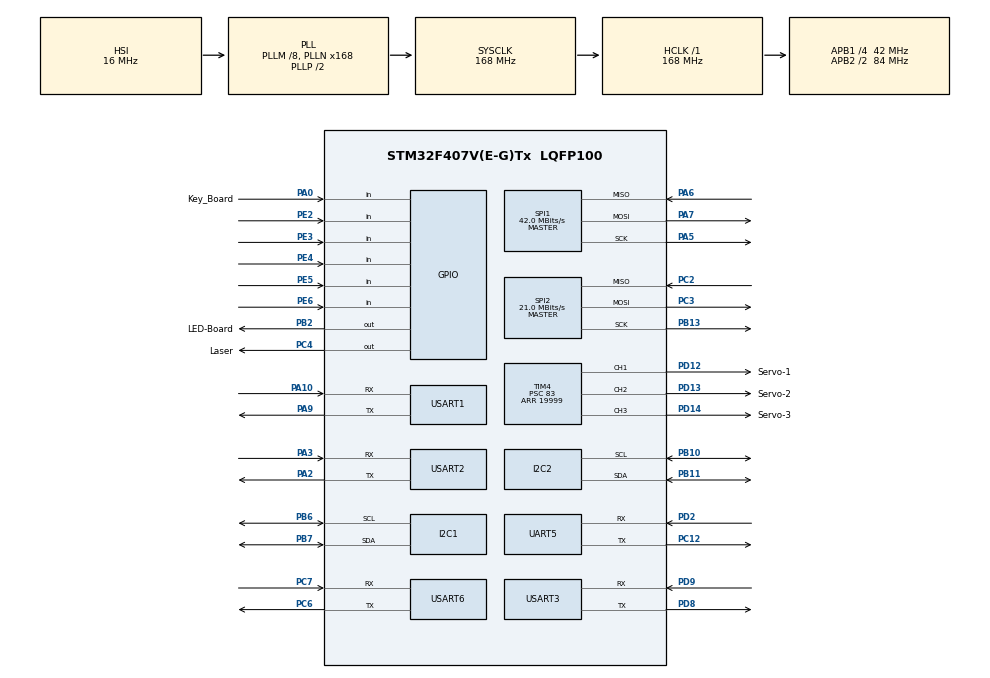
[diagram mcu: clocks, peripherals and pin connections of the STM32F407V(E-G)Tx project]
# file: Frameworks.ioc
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Dma.Request0=USART2_RX
Dma.Request1=USART3_RX
Dma.USART2_RX.0.Direction=DMA_PERIPH_TO_MEMORY
Dma.USART2_RX.0.FIFOMode=DMA_FIFOMODE_DISABLE
Dma.USART2_RX.0.Instance=DMA1_Stream5
Dma.USART2_RX.0.MemDataAlignment=DMA_MDATAALIGN_BYTE
Dma.USART2_RX.0.MemInc=DMA_MINC_ENABLE
Dma.USART2_RX.0.Mode=DMA_NORMAL
Dma.USART2_RX.0.PeriphDataAlignment=DMA_PDATAALIGN_BYTE
Dma.USART2_RX.0.PeriphInc=DMA_PINC_DISABLE
Dma.USART2_RX.0.Priority=DMA_PRIORITY_HIGH
Dma.USART3_RX.1.Direction=DMA_PERIPH_TO_MEMORY
Dma.USART3_RX.1.FIFOMode=DMA_FIFOMODE_DISABLE
Dma.USART3_RX.1.Instance=DMA1_Stream1
Dma.USART3_RX.1.MemDataAlignment=DMA_MDATAALIGN_BYTE
Dma.USART3_RX.1.MemInc=DMA_MINC_ENABLE
Dma.USART3_RX.1.Mode=DMA_NORMAL
Dma.USART3_RX.1.PeriphDataAlignment=DMA_PDATAALIGN_BYTE
Dma.USART3_RX.1.PeriphInc=DMA_PINC_DISABLE
Dma.USART3_RX.1.Priority=DMA_PRIORITY_HIGH
I2C1.I2C_Mode=I2C_Fast
Mcu.Family=STM32F4
Mcu.Name=STM32F407V(E-G)Tx
Mcu.Package=LQFP100
NVIC.DMA1_Stream1_IRQn=true\:0\:0\:false\:false\:true\:false\:true\:true
NVIC.DMA1_Stream5_IRQn=true\:0\:0\:false\:false\:true\:false\:true\:true
NVIC.PriorityGroup=NVIC_PRIORITYGROUP_4
NVIC.TIM6_DAC_IRQn=true\:0\:0\:false\:false\:true\:true\:true\:true
NVIC.TIM7_IRQn=true\:0\:0\:false\:false\:true\:true\:true\:true
NVIC.USART2_IRQn=true\:0\:0\:false\:false\:true\:true\:true\:true
NVIC.USART3_IRQn=true\:0\:0\:false\:false\:true\:true\:true\:true
PA0-WKUP.GPIO_Label=Key_Board
PA0-WKUP.GPIO_PuPd=GPIO_NOPULL
PA0-WKUP.Signal=GPIO_Input
PA10.Mode=Asynchronous
PA10.Signal=USART1_RX
PA13.Mode=Serial_Wire
PA13.Signal=SYS_JTMS-SWDIO
PA14.Mode=Serial_Wire
PA14.Signal=SYS_JTCK-SWCLK
PA2.Mode=Asynchronous
PA2.Signal=USART2_TX
PA3.Mode=Asynchronous
PA3.Signal=USART2_RX
PA5.Mode=Full_Duplex_Master
PA5.Signal=SPI1_SCK
PA6.Mode=Full_Duplex_Master
PA6.Signal=SPI1_MISO
PA7.Mode=Full_Duplex_Master
PA7.Signal=SPI1_MOSI
PA9.Mode=Asynchronous
PA9.Signal=USART1_TX
PB10.Mode=I2C
PB10.Signal=I2C2_SCL
PB11.Mode=I2C
PB11.Signal=I2C2_SDA
PB13.Mode=Full_Duplex_Master
PB13.Signal=SPI2_SCK
PB2.GPIO_Label=LED-Board
PB2.Signal=GPIO_Output
PB6.Mode=I2C
PB6.Signal=I2C1_SCL
PB7.Mode=I2C
PB7.Signal=I2C1_SDA
PC12.Mode=Asynchronous
PC12.Signal=UART5_TX
PC2.Mode=Full_Duplex_Master
PC2.Signal=SPI2_MISO
PC3.Mode=Full_Duplex_Master
PC3.Signal=SPI2_MOSI
PC4.GPIO_Label=Laser
PC4.Signal=GPIO_Output
PC6.Mode=Asynchronous
PC6.Signal=USART6_TX
PC7.Mode=Asynchronous
PC7.Signal=USART6_RX
PD12.GPIO_Label=Servo-1
PD12.Signal=S_TIM4_CH1
PD13.GPIO_Label=Servo-2
PD13.Signal=S_TIM4_CH2
PD14.GPIO_Label=Servo-3
PD14.Signal=S_TIM4_CH3
PD2.Mode=Asynchronous
PD2.Signal=UART5_RX
PD8.Mode=Asynchronous
PD8.Signal=USART3_TX
PD9.Mode=Asynchronous
PD9.Signal=USART3_RX
PE2.GPIO_PuPd=GPIO_NOPULL
PE2.Signal=GPIO_Input
PE3.GPIO_PuPd=GPIO_NOPULL
PE3.Signal=GPIO_Input
PE4.GPIO_PuPd=GPIO_NOPULL
PE4.Signal=GPIO_Input
PE5.GPIO_PuPd=GPIO_NOPULL
PE5.Signal=GPIO_Input
PE6.GPIO_PuPd=GPIO_NOPULL
PE6.Signal=GPIO_Input
PH0-OSC_IN.Mode=HSE-External-Oscillator
PH0-OSC_IN.Signal=RCC_OSC_IN
PH1-OSC_OUT.Mode=HSE-External-Oscillator
PH1-OSC_OUT.Signal=RCC_OSC_OUT
ProjectManager.HeapSize=0x200
ProjectManager.StackSize=0x400
ProjectManager.TargetToolchain=CMake
RCC.48MHZClocksFreq_Value=84000000
RCC.AHBFreq_Value=168000000
RCC.APB1CLKDivider=RCC_HCLK_DIV4
RCC.APB1Freq_Value=42000000
RCC.APB1TimFreq_Value=84000000
RCC.APB2CLKDivider=RCC_HCLK_DIV2
RCC.APB2Freq_Value=84000000
RCC.APB2TimFreq_Value=168000000
RCC.CortexFreq_Value=168000000
RCC.HCLKFreq_Value=168000000
RCC.HSE_VALUE=25000000
RCC.HSI_VALUE=16000000
RCC.LSE_VALUE=32768
RCC.PLLM=8
RCC.PLLN=168
RCC.SYSCLKFreq_VALUE=168000000
RCC.SYSCLKSource=RCC_SYSCLKSOURCE_PLLCLK
RCC.VCOOutputFreq_Value=336000000
SH.S_TIM4_CH1.0=TIM4_CH1,PWM Generation1 CH1
SH.S_TIM4_CH2.0=TIM4_CH2,PWM Generation2 CH2
SH.S_TIM4_CH3.0=TIM4_CH3,PWM Generation3 CH3
SPI1.CalculateBaudRate=42.0 MBits/s
SPI1.Direction=SPI_DIRECTION_2LINES
SPI1.Mode=SPI_MODE_MASTER
SPI1.VirtualType=VM_MASTER
SPI2.CalculateBaudRate=21.0 MBits/s
SPI2.Direction=SPI_DIRECTION_2LINES
SPI2.Mode=SPI_MODE_MASTER
SPI2.VirtualType=VM_MASTER
STMicroelectronics.X-CUBE-ALGOBUILD.1.4.0.LibraryCcDSPOoLibraryJjDSPOoLibrary=true
TIM4.AutoReloadPreload=TIM_AUTORELOAD_PRELOAD_ENABLE
TIM4.Channel-PWM\ Generation1\ CH1=TIM_CHANNEL_1
TIM4.Channel-PWM\ Generation2\ CH2=TIM_CHANNEL_2
TIM4.Channel-PWM\ Generation3\ CH3=TIM_CHANNEL_3
TIM4.Period=19999
TIM4.Prescaler=83
TIM6.AutoReloadPreload=TIM_AUTORELOAD_PRELOAD_ENABLE
TIM6.Period=199
TIM6.Prescaler=16799
TIM7.AutoReloadPreload=TIM_AUTORELOAD_PRELOAD_ENABLE
TIM7.Period=199
TIM7.Prescaler=16799
UART5.VirtualMode=Asynchronous
USART1.VirtualMode=VM_ASYNC
USART2.VirtualMode=VM_ASYNC
USART3.VirtualMode=VM_ASYNC
USART6.VirtualMode=VM_ASYNC
VP_STMicroelectronics.X-CUBE-ALGOBUILD_VS_DSPOoLibraryJjLibrary_1.4.0_1.4.0.Mode=DSPOoLibraryJjLibrary
VP_TIM6_VS_ClockSourceINT.Mode=Enable_Timer
VP_TIM7_VS_ClockSourceINT.Mode=Enable_Timer
board=custom

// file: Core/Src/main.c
/* USER CODE BEGIN Header */
/**
  ******************************************************************************
  * @file           : main.c
  * @brief          : Main program body
  ******************************************************************************
  * @attention
  *
  * Copyright (c) 2025 STMicroelectronics.
  * All rights reserved.
  *
  * This software is licensed under terms that can be found in the LICENSE file
  * in the root directory of this software component.
  * If no LICENSE file comes with this software, it is provided AS-IS.
  *
  ******************************************************************************
  */
/* USER CODE END Header */
#include "main.h"
#include "dma.h"
#include "i2c.h"
#include "spi.h"
#include "tim.h"
#include "usart.h"
#include "gpio.h"

/* USER CODE BEGIN Includes */
#include <stdio.h>

#include "SEGGER_RTT.h"
#include "hal_oled.h"
#include "key.h"
#include "Emm_V5.h"
#include "gimbal.h"
#include "isr.h"
#include "stepper_uart.h"
#include "vision_uart.h"

/* USER CODE END Includes */

void SystemClock_Config(void);

int main(void)
{

  /* MCU Configuration--------------------------------------------------------*/

  /* Reset of all peripherals, Initializes the Flash interface and the Systick. */
  HAL_Init();

  /* Configure the system clock */
  SystemClock_Config();

  /* Initialize all configured peripherals */
  MX_GPIO_Init();
  MX_DMA_Init();
  MX_I2C1_Init();
  MX_I2C2_Init();
  MX_SPI1_Init();
  MX_SPI2_Init();
  MX_TIM4_Init();
  MX_UART5_Init();
  MX_USART1_UART_Init();
  MX_USART2_UART_Init();
  MX_USART3_UART_Init();
  MX_USART6_UART_Init();
  MX_TIM6_Init();
  MX_TIM7_Init();
  /* USER CODE BEGIN 2 */
  HAL_Delay(100);
  SEGGER_RTT_Init();
  Vision_UART_Init();
  Stepper_UART_Init();

  // Initialize OLED
  if (HAL_OLED_Init() != HAL_OK) {
    printf("OLED initialization failed!\n");
    // 处理错误情况
  } else {
    printf("OLED ready for use\n");
    // 可以安全使用OLED功能
  }

  HAL_Timer_Init();

  Gimbal_PID_Init();

  printf("Board Peripherals Initialized\n");
  printf("System Ready. Entering main loop...\n");

  HAL_OLED_Clear();
  HAL_OLED_SetFont(u8g2_font_ncenB08_tr);
  HAL_OLED_DrawString(0,0,"Init Finished");
  HAL_OLED_SendBuffer();
  HAL_Delay(100);
  // HAL_OLED_Test();
  // Emm_V5_Test();
  // HAL_GPIO_WritePin(Laser_GPIO_Port,Laser_Pin,1);

  /* USER CODE END 2 */

  /* Infinite loop */
  while (1)
  {

    /* USER CODE BEGIN 3 */

    Gimbal_CalibModeHandler();

    Gimbal_SweepAndTrack_Handler();

    if (gimbal_tracking_mode) {
      Vision_ProcessData();
      Gimbal_Tracking_Handler();
    } else {
#if GIMBAL_DRY_RUN_MODE == 1
      static uint32_t last_info = 0;
      if (HAL_GetTick() - last_info >= 2000) {
        printf("[DRY RUN] Tracking Disabled. Waiting for long press on KEY4...\n");
        last_info = HAL_GetTick();
      }
#endif
    }

  }
  /* USER CODE END 3 */
}

void SystemClock_Config(void)
{
  RCC_OscInitTypeDef RCC_OscInitStruct = {0};
  RCC_ClkInitTypeDef RCC_ClkInitStruct = {0};

  /** Configure the main internal regulator output voltage
  */
  __HAL_RCC_PWR_CLK_ENABLE();
  __HAL_PWR_VOLTAGESCALING_CONFIG(PWR_REGULATOR_VOLTAGE_SCALE1);

  /** Initializes the RCC Oscillators according to the specified parameters
  * in the RCC_OscInitTypeDef structure.
  */
  RCC_OscInitStruct.OscillatorType = RCC_OSCILLATORTYPE_HSI;
  RCC_OscInitStruct.HSIState = RCC_HSI_ON;
  RCC_OscInitStruct.HSICalibrationValue = RCC_HSICALIBRATION_DEFAULT;
  RCC_OscInitStruct.PLL.PLLState = RCC_PLL_ON;
  RCC_OscInitStruct.PLL.PLLSource = RCC_PLLSOURCE_HSI;
  RCC_OscInitStruct.PLL.PLLM = 8;
  RCC_OscInitStruct.PLL.PLLN = 168;
  RCC_OscInitStruct.PLL.PLLP = RCC_PLLP_DIV2;
  RCC_OscInitStruct.PLL.PLLQ = 4;
  if (HAL_RCC_OscConfig(&RCC_OscInitStruct) != HAL_OK)
  {
    Error_Handler();
  }

  /** Initializes the CPU, AHB and APB buses clocks
  */
  RCC_ClkInitStruct.ClockType = RCC_CLOCKTYPE_HCLK|RCC_CLOCKTYPE_SYSCLK
                              |RCC_CLOCKTYPE_PCLK1|RCC_CLOCKTYPE_PCLK2;
  RCC_ClkInitStruct.SYSCLKSource = RCC_SYSCLKSOURCE_PLLCLK;
  RCC_ClkInitStruct.AHBCLKDivider = RCC_SYSCLK_DIV1;
  RCC_ClkInitStruct.APB1CLKDivider = RCC_HCLK_DIV4;
  RCC_ClkInitStruct.APB2CLKDivider = RCC_HCLK_DIV2;

  if (HAL_RCC_ClockConfig(&RCC_ClkInitStruct, FLASH_LATENCY_5) != HAL_OK)
  {
    Error_Handler();
  }
}

void Error_Handler(void)
{
  __disable_irq();
  while (1)
  {
  }
}
